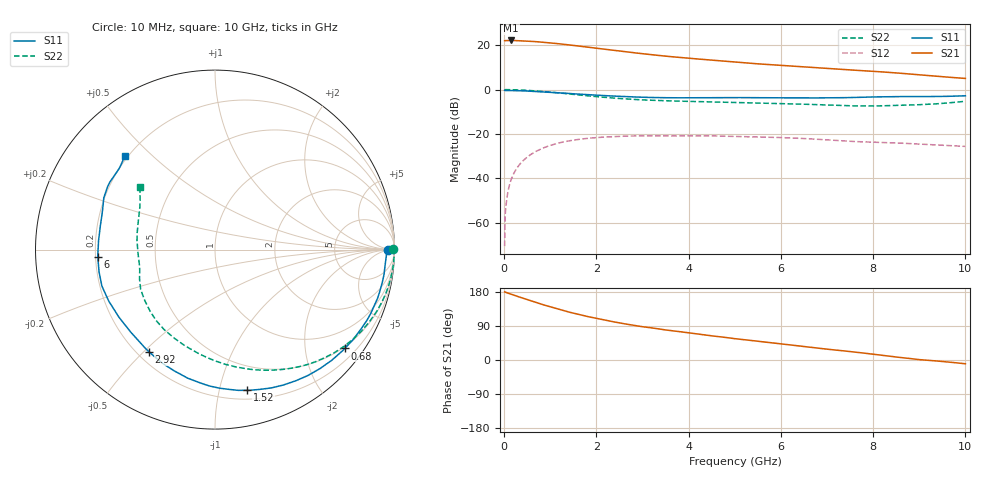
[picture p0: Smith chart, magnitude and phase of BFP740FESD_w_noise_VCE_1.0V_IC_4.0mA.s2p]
! Infineon Technologies  Discrete & RF Semiconductors
! BFP740FESD
! VCE =  1.0 V,  IC =  4.0 mA
! Common Emitter S-Parameters:  Jan 2016
# GHz  S  MA  R  50
!  f  S11  S21  S12  S22
! GHz  MAG  ANG  MAG  ANG  MAG  ANG  MAG  ANG
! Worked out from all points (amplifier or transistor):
!   233 points, 10 MHz to 10 GHz, reference 50 ohm
!   highest |S21| = 22.1 dB at 150 MHz (marker M1)
!   |S21| within 3 dB of that: start of sweep to 1.803 GHz
!   unconditionally stable (mu >= 1): 7.457 GHz to end of sweep
!   at 200 MHz: K = 0.01, MSG = 30.1 dB, |S12| = -38.1 dB
!   at 1.74 GHz: K = 0.17, MSG = 20.7 dB, |S12| = -22.1 dB
!   at 10 GHz: K = 1.57, MAG = 10.8 dB, |S12| = -25.6 dB
!   lowest NFmin = 0.46 dB at 450 MHz
!   S11 on the Smith chart (normalised r, x): 10 MHz: 51, +0; 680 MHz: 0.46, -2.90; 1.52 GHz: 0.27, -1.22; 2.92 GHz: 0.25, -0.52; 6 GHz: 0.21, -0.03; 10 GHz: 0.19, +0.41
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0.01  0.9614 0.0  12.64 179.7  0.0003 156.0  0.992 0.3
0.02  0.9571 -1.0  12.63 179.4  0.0013 92.1  0.9984 -0.9
0.03  0.9559 -1.6  12.63 178.9  0.0019 88.6  0.9983 -1.3
0.075  0.9524 -4.1  12.69 177.0  0.0046 85.9  0.9979 -3.1
0.15  0.9518 -8.5  12.76 173.8  0.0093 84.6  0.9958 -6.4
0.36  0.9401 -20.1  12.58 165.0  0.0221 77.2  0.9802 -15.3
0.68  0.9088 -37.3  12.01 152.1  0.0401 65.9  0.9367 -28.3
0.9  0.884 -48.6  11.5 143.8  0.0511 58.7  0.899 -36.8
1.1  0.8583 -58.4  10.98 136.7  0.0596 52.4  0.8593 -44.4
1.3  0.8322 -67.8  10.44 129.9  0.067 46.4  0.8192 -51.6
1.52  0.8041 -77.2  9.817 123.1  0.0735 40.4  0.7752 -59.1
1.68  0.7841 -83.8  9.395 118.2  0.0773 36.3  0.746 -64.2
2.2  0.7322 -102.0  8.058 104.7  0.0858 25.2  0.667 -79.3
2.6  0.699 -114.3  7.18 95.7  0.0896 17.9  0.6207 -89.8
2.92  0.6776 -122.8  6.561 89.4  0.0908 12.9  0.5928 -97.0
3.4  0.6587 -133.4  5.794 81.2  0.0912 6.9  0.5657 -105.5
4.5  0.6578 -154.1  4.606 63.8  0.0909 -4.4  0.5284 -122.3
5.1  0.6604 -163.5  4.087 55.0  0.0882 -9.9  0.5101 -130.9
6  0.6545 -176.5  3.518 42.6  0.0834 -17.2  0.4839 -143.8
6.8  0.6504 171.4  3.096 31.5  0.0761 -22.7  0.4578 -155.9
8.4  0.6934 149.7  2.416 9.4  0.0637 -25.2  0.4375 173.4
10  0.7251 133.9  1.782 -10.0  0.0527 -24.7  0.5448 140.2
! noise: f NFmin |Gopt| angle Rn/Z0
0.45  0.46  0.63  6  0.14
2.4  0.64  0.36  45  0.14
5.5  0.85  0.44  128  0.09
10  1.65  0.47  -141  0.15
